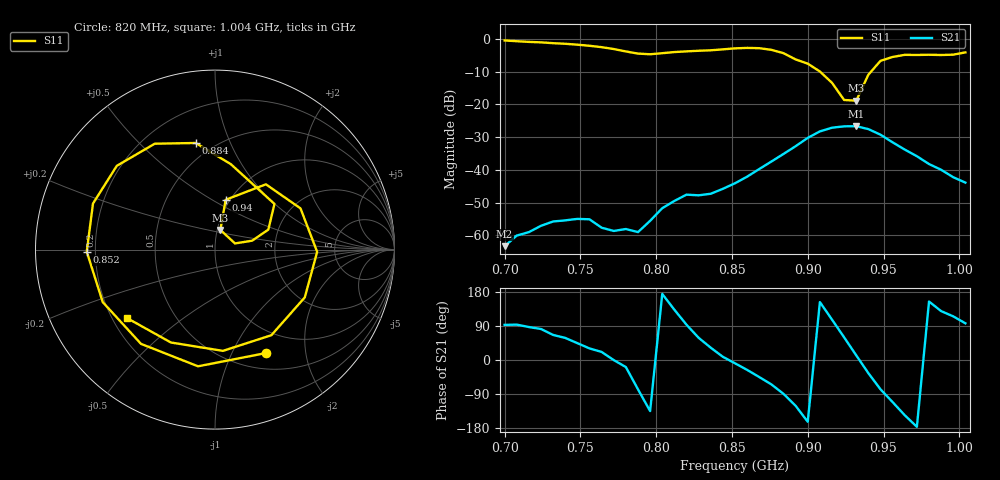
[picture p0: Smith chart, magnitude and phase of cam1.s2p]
# Hz S RI R 50
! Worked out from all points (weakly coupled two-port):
!   39 points, 700 MHz to 1.004 GHz, reference 50 ohm
!   highest |S21| = -26.67 dB at 932 MHz (marker M1); lowest = -63.3 dB at 700 MHz (marker M2)
!   lowest |S11| = -18.9 dB at 932 MHz (marker M3), VSWR 1.26, Z = 51.8 + j11.5 ohm
!   |S11| at or under -10 dB: 908.1 MHz to 941.8 MHz (33.71 MHz wide, 3.64 % of centre)
!   S12 and S22 are empty: the file has one direction only
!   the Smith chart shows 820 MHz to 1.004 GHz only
!   S11 on the Smith chart (normalised r, x): 820 MHz: 0.70, -1.37; 852 MHz: 0.17, -0.01; 884 MHz: 0.40, +0.75; 940 MHz: 0.96, +0.58; 1.004 GHz: 0.26, -0.32
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7e8  0.7642 0.5535  -3.21e-05 0.000686  0 0  0 0
7.24e8  0.8471 -0.2481  0.0002 0.00139  0 0  0 0
7.4e8  0.4558 -0.7051  0.000894 0.00145  0 0  0 0
7.56e8  -0.1939 -0.7584  0.00152 0.000897  0 0  0 0
7.72e8  -0.6679 -0.2035  0.00117 -4.07e-06  0 0  0 0
7.8e8  -0.6009 0.2245  0.00119 -0.000401  0 0  0 0
7.88e8  -0.2557 0.5371  0.000244 -0.0011  0 0  0 0
7.96e8  0.2341 0.532  -0.00118 -0.00119  0 0  0 0
8.04e8  0.5726 0.1892  -0.00259 0.000256  0 0  0 0
8.2e8  0.2862 -0.576  -0.000227 0.00419  0 0  0 0
8.36e8  -0.4124 -0.5251  0.00365 0.00232  0 0  0 0
8.52e8  -0.7145 -0.0118  0.00618 -0.000951  0 0  0 0
8.68e8  -0.547 0.4668  0.00728 -0.00728  0 0  0 0
8.84e8  -0.1078 0.594  0.000225 -0.0175  0 0  0 0
9e8  0.3313 0.2546  -0.0295 -0.00897  0 0  0 0
9.08e8  0.2971 0.1114  -0.0344 0.0176  0 0  0 0
9.32e8  0.0299 0.1098  0.0454 0.00979  0 0  0 0
9.4e8  0.0595 0.2776  0.0344 -0.0239  0 0  0 0
9.56e8  0.4764 0.2298  -0.0095 -0.0245  0 0  0 0
9.64e8  0.5692 -0.0126  -0.0169 -0.0115  0 0  0 0
9.8e8  0.3142 -0.4769  -0.0111 0.00533  0 0  0 0
1.004e9  -0.4889 -0.3821  -0.000757 0.00636  0 0  0 0
